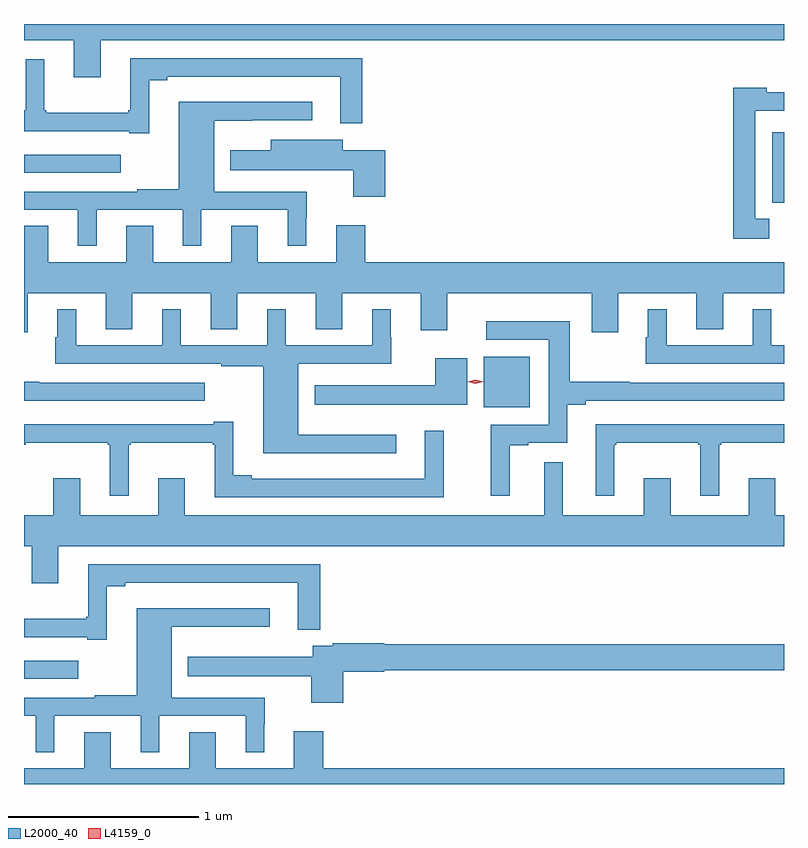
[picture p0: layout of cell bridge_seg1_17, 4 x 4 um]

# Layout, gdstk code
import gdstk
lib = gdstk.Library(unit=1e-6, precision=1e-09)
def R(c, l, rs):  # rectangles x0, y0, x1, y1
    for r in rs: c.add(gdstk.rectangle(r[:2], r[2:], *l))
def P(c, l, *ps):  # polygons
    for p in ps: c.add(gdstk.Polygon(p, *l))
L2000_40 = (2000, 40)
L4159_0 = (4159, 0)

bridge_seg1_17 = lib.new_cell('bridge_seg1_17')
R(bridge_seg1_17, L2000_40, [(885.99,537.714,886.276,537.81), (888.41,539.144,888.652,539.41), (889.928,540.22,889.99,540.592), (885.99,540.378,886.498,540.474)])
P(bridge_seg1_17, L2000_40, [(886.393,541.076),(889.99,541.076),(889.99,541.161),(885.99,541.161),(885.99,541.076),(886.253,541.076),(886.253,540.882),(886.393,540.882)],
  [(886.648,540.865),(886.744,540.865),(886.744,540.884),(887.654,540.884),(887.654,540.638),(887.771,540.638),(887.771,540.981),(886.55,540.981),(886.55,540.706),(886.539,540.706),(886.539,540.695),(886.108,540.695),(886.108,540.706),(886.096,540.706),(886.096,540.976),(885.998,540.976),(885.998,540.706),(885.99,540.706),(885.99,540.597),(886.544,540.597),(886.544,540.585),(886.648,540.585)],
  [(889.912,540.135),(889.839,540.135),(889.839,540.705),(889.99,540.705),(889.99,540.801),(889.899,540.801),(889.899,540.826),(889.723,540.826),(889.723,540.03),(889.912,540.03)],
  [(886.372,540.183),(886.826,540.183),(886.826,539.993),(886.924,539.993),(886.924,540.183),(887.378,540.183),(887.378,539.993),(887.476,539.993),(887.476,540.14),(887.478,540.14),(887.478,540.279),(886.99,540.279),(886.99,540.653),(887.192,540.653),(887.192,540.654),(887.506,540.654),(887.506,540.751),(886.805,540.751),(886.805,540.292),(886.585,540.292),(886.585,540.279),(885.99,540.279),(885.99,540.183),(886.274,540.183),(886.274,539.993),(886.372,539.993)],
  [(887.891,540.496),(887.668,540.496),(887.668,540.553),(887.288,540.553),(887.288,540.496),(887.075,540.496),(887.075,540.392),(887.723,540.392),(887.723,540.252),(887.891,540.252)],
  [(886.009,539.744),(886.421,539.744),(886.421,539.554),(886.561,539.554),(886.561,539.744),(886.973,539.744),(886.973,539.554),(887.113,539.554),(887.113,539.744),(887.525,539.744),(887.525,539.554),(887.665,539.554),(887.665,539.744),(888.077,539.744),(888.077,539.55),(888.217,539.55),(888.217,539.744),(888.977,539.744),(888.977,539.538),(889.117,539.538),(889.117,539.744),(889.529,539.744),(889.529,539.554),(889.669,539.554),(889.669,539.744),(889.99,539.744),(889.99,539.908),(887.786,539.908),(887.786,540.103),(887.633,540.103),(887.633,539.908),(887.221,539.908),(887.221,540.098),(887.081,540.098),(887.081,539.908),(886.669,539.908),(886.669,540.098),(886.529,540.098),(886.529,539.908),(886.117,539.908),(886.117,540.098),(885.99,540.098),(885.99,539.538),(886.009,539.538)],
  [(887.95,538.999),(887.434,538.999),(887.434,539.373),(887.922,539.373),(887.922,539.513),(887.92,539.513),(887.92,539.659),(887.822,539.659),(887.822,539.469),(887.368,539.469),(887.368,539.659),(887.27,539.659),(887.27,539.469),(886.816,539.469),(886.816,539.659),(886.718,539.659),(886.718,539.469),(886.264,539.469),(886.264,539.659),(886.166,539.659),(886.166,539.513),(886.155,539.513),(886.155,539.373),(887.029,539.373),(887.029,539.361),(887.249,539.361),(887.249,538.901),(887.95,538.901)],
  [(889.99,539.469),(889.924,539.469),(889.924,539.659),(889.826,539.659),(889.826,539.469),(889.372,539.469),(889.372,539.659),(889.274,539.659),(889.274,539.513),(889.263,539.513),(889.263,539.373),(889.99,539.373)],
  [(888.547,538.944),(888.643,538.944),(888.643,538.956),(888.85,538.956),(888.85,539.158),(888.946,539.158),(888.946,539.178),(889.99,539.178),(889.99,539.274),(889.178,539.274),(889.178,539.279),(888.862,539.279),(888.862,539.596),(888.423,539.596),(888.423,539.499),(888.753,539.499),(888.753,539.052),(888.446,539.052),(888.446,538.677),(888.547,538.677)],
  [(888.322,539.401),(888.155,539.401),(888.155,539.26),(887.519,539.26),(887.519,539.156),(888.322,539.156)],
  [(886.942,539.274),(886.07,539.274),(886.07,539.279),(885.99,539.279),(885.99,539.178),(886.942,539.178)],
  [(888.198,539.02),(888.098,539.02),(888.098,538.768),(887.188,538.768),(887.188,538.787),(887.092,538.787),(887.092,539.068),(886.988,539.068),(886.988,539.055),(885.99,539.055),(885.99,538.947),(886,538.947),(886,538.958),(886.431,538.958),(886.431,538.947),(886.442,538.947),(886.442,538.677),(886.54,538.677),(886.54,538.947),(886.552,538.947),(886.552,538.958),(886.983,538.958),(886.983,538.947),(886.994,538.947),(886.994,538.671),(888.198,538.671)],
  [(889.096,538.947),(889.108,538.947),(889.108,538.958),(889.539,538.958),(889.539,538.947),(889.55,538.947),(889.55,538.677),(889.648,538.677),(889.648,538.947),(889.66,538.947),(889.66,538.958),(889.99,538.958),(889.99,539.055),(888.998,539.055),(888.998,538.677),(889.096,538.677)],
  [(886.171,538.412),(889.99,538.412),(889.99,538.576),(889.945,538.576),(889.945,538.771),(889.805,538.771),(889.805,538.576),(889.393,538.576),(889.393,538.771),(889.253,538.771),(889.253,538.576),(888.826,538.576),(888.826,538.855),(888.728,538.855),(888.728,538.576),(886.837,538.576),(886.837,538.771),(886.697,538.771),(886.697,538.576),(886.285,538.576),(886.285,538.771),(886.145,538.771),(886.145,538.576),(885.99,538.576),(885.99,538.412),(886.031,538.412),(886.031,538.218),(886.171,538.218)],
  [(886.426,538.201),(886.522,538.201),(886.522,538.22),(887.432,538.22),(887.432,537.974),(887.549,537.974),(887.549,538.317),(886.328,538.317),(886.328,538.042),(886.317,538.042),(886.317,538.031),(885.99,538.031),(885.99,537.933),(886.322,537.933),(886.322,537.921),(886.426,537.921)],
  [(886.15,537.519),(886.604,537.519),(886.604,537.329),(886.702,537.329),(886.702,537.519),(887.156,537.519),(887.156,537.329),(887.254,537.329),(887.254,537.476),(887.256,537.476),(887.256,537.615),(886.768,537.615),(886.768,537.989),(887.284,537.989),(887.284,538.087),(886.583,538.087),(886.583,537.628),(886.363,537.628),(886.363,537.615),(885.99,537.615),(885.99,537.519),(886.052,537.519),(886.052,537.329),(886.15,537.329)],
  [(887.669,537.752),(887.886,537.752),(887.886,537.76),(889.99,537.76),(889.99,537.896),(887.886,537.896),(887.886,537.902),(887.614,537.902),(887.614,537.889),(887.51,537.889),(887.51,537.832),(886.853,537.832),(886.853,537.728),(887.501,537.728),(887.501,537.588),(887.669,537.588)],
  [(889.99,537.244),(887.564,537.244),(887.564,537.439),(887.411,537.439),(887.411,537.244),(886.999,537.244),(886.999,537.434),(886.859,537.434),(886.859,537.244),(886.447,537.244),(886.447,537.434),(886.307,537.434),(886.307,537.244),(885.99,537.244),(885.99,537.161),(889.99,537.161)])
P(bridge_seg1_17, L4159_0, [(888.366,539.268),(888.326,539.278),(888.326,539.278),(888.326,539.278),(888.366,539.288),(888.406,539.278),(888.406,539.278),(888.406,539.278)])

lib.write_gds('bridge_seg1_17.gds')
